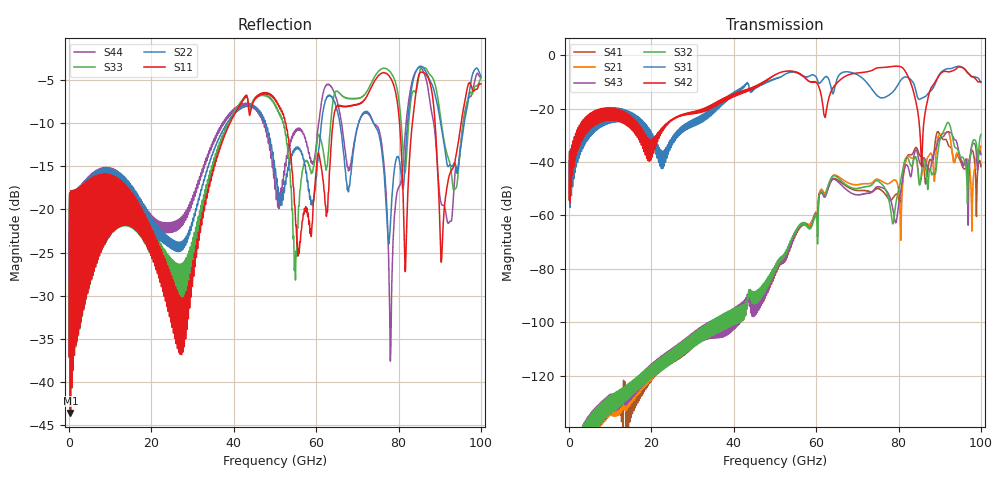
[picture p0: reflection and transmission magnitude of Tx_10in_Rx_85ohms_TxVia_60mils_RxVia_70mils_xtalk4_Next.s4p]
! Info: Touchstone file created by Circ.  Input file=Tx_10in_Rx_85ohms_TxVia_60mils_RxVia_70mils.circ
# Hz S RI R 50
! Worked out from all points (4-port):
!   10000 points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, 10 MHz to 100 GHz, reference 50 ohm
!   strongest paths, dB at 10 MHz, 25.01 GHz, 50.01 GHz, 75.01 GHz, 100 GHz:
!     S42: -54.1, -24.4, -7.4, -4.7, -10.0
!     S31: -54.1, -32.7, -8.8, -15.4, -10.2
!     S32: -194.9, -114.5, -79.3, -47.1, -29.7
!     S43: -159.2, -113.7, -79.8, -49.2, -37.2
!     S21: -195.8, -115.1, -80.3, -46.5, -34.1
!     S41: -161.0, -114.9, -81.0, -49.8, -41.7
!   lowest |S11| = -43.6 dB at 320 MHz (marker M1), VSWR 1.01, Z = 49.4 - j0.192 ohm
!   |S11| at or under -10 dB: start of sweep to 39.12 GHz; 52.49 GHz to 64.09 GHz (11.59 GHz wide, 19.9 % of centre); 88.87 GHz to 95.21 GHz (6.335 GHz wide, 6.88 % of centre)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
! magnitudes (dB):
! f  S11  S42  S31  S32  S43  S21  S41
! 10 MHz  -37.0  -54.1  -54.1  -194.9  -159.2  -195.8  -161.0
! 320 MHz  -43.6  -41.4  -41.4  -165.5  -165.5  -167.1  -165.8
! 49.67 GHz  -7.1  -7.6  -9.0  -79.8  -80.2  -80.9  -81.5
! 64.26 GHz  -9.4  -11.9  -13.9  -45.2  -46.4  -44.9  -46.1
! 80.57 GHz  -12.2  -4.4  -9.4  -46.7  -50.3  -68.6  -54.2
! 85.57 GHz  -4.1  -41.5  -16.1  -44.1  -40.9  -45.4  -37.7
! 100 GHz  -5.5  -10.0  -10.2  -29.7  -37.2  -34.1  -41.7
